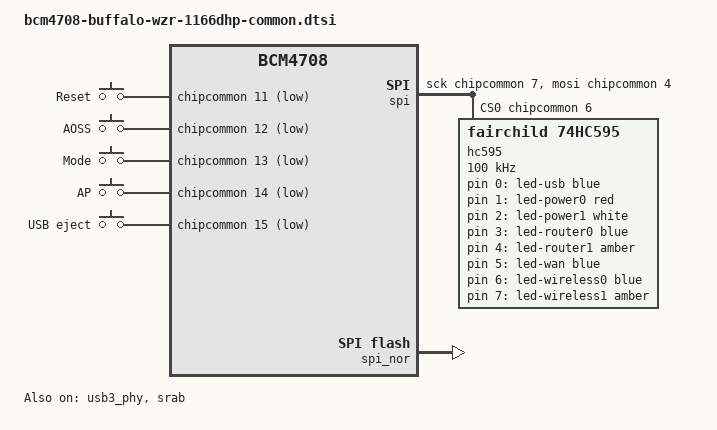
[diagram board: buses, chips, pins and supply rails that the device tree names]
// SPDX-License-Identifier: GPL-2.0-or-later OR MIT
/*
 * Broadcom BCM470X / BCM5301X ARM platform code.
 * DTS for Buffalo WZR-1166DHP and WZR-1166DHP2
 *
 * Copyright (C) 2014 Rafał Miłecki <zajec5@gmail.com>
 * Copyright (C) 2022 SHIMAMOTO Takayoshi <takayoshi.shimamoto.360@gmail.com>
 */


#include "bcm4708.dtsi"
#include "bcm5301x-nand-cs0-bch8.dtsi"
#include <dt-bindings/leds/common.h>

/ {
	spi {
		compatible = "spi-gpio";
		num-chipselects = <1>;
		sck-gpios = <&chipcommon 7 0>;
		mosi-gpios = <&chipcommon 4 0>;
		cs-gpios = <&chipcommon 6 0>;
		#address-cells = <1>;
		#size-cells = <0>;

		hc595: gpio_spi@0 {
			compatible = "fairchild,74hc595";
			reg = <0>;
			registers-number = <1>;
			spi-max-frequency = <100000>;

			gpio-controller;
			#gpio-cells = <2>;

		};
	};

	leds {
		compatible = "gpio-leds";

		led-usb {
			/* label = "bcm53xx:blue:usb"; */
			function = LED_FUNCTION_USB;
			color = <LED_COLOR_ID_BLUE>;
			gpios = <&hc595 0 GPIO_ACTIVE_HIGH>;
			trigger-sources = <&ohci_port1>, <&ehci_port1>,
					  <&xhci_port1>, <&ohci_port2>,
					  <&ehci_port2>;
			linux,default-trigger = "usbport";
		};

		led-power0 {
			/* label = "bcm53xx:red:power"; */
			function = LED_FUNCTION_FAULT;
			color = <LED_COLOR_ID_RED>;
			gpios = <&hc595 1 GPIO_ACTIVE_HIGH>;
		};

		led-power1 {
			/* label = "bcm53xx:white:power"; */
			function = LED_FUNCTION_POWER;
			color = <LED_COLOR_ID_WHITE>;
			gpios = <&hc595 2 GPIO_ACTIVE_HIGH>;
			linux,default-trigger = "default-on";
		};

		led-router0 {
			/*  label = "bcm53xx:blue:router"; */
			function = LED_FUNCTION_STATUS;
			color = <LED_COLOR_ID_BLUE>;
			gpios = <&hc595 3 GPIO_ACTIVE_HIGH>;
			linux,default-trigger = "default-on";
		};

		led-router1 {
			/* label = "bcm53xx:amber:router"; */
			function = LED_FUNCTION_STATUS;
			color = <LED_COLOR_ID_AMBER>;
			gpios = <&hc595 4 GPIO_ACTIVE_HIGH>;
		};

		led-wan {
			/* label = "bcm53xx:blue:wan"; */
			function = LED_FUNCTION_WAN;
			color = <LED_COLOR_ID_BLUE>;
			gpios = <&hc595 5 GPIO_ACTIVE_HIGH>;
			linux,default-trigger = "default-on";
		};

		led-wireless0 {
			/* label = "bcm53xx:blue:wireless"; */
			function = LED_FUNCTION_WLAN;
			color = <LED_COLOR_ID_BLUE>;
			gpios = <&hc595 6 GPIO_ACTIVE_HIGH>;
		};

		led-wireless1 {
			/* label = "bcm53xx:amber:wireless"; */
			function = LED_FUNCTION_WLAN;
			color = <LED_COLOR_ID_AMBER>;
			gpios = <&hc595 7 GPIO_ACTIVE_HIGH>;
		};
	};

	gpio-keys {
		compatible = "gpio-keys";

		button-restart {
			label = "Reset";
			linux,code = <KEY_RESTART>;
			gpios = <&chipcommon 11 GPIO_ACTIVE_LOW>;
		};

		button-aoss {
			label = "AOSS";
			linux,code = <KEY_WPS_BUTTON>;
			gpios = <&chipcommon 12 GPIO_ACTIVE_LOW>;
		};

		/* Commit mode set by switch? */
		button-mode {
			label = "Mode";
			linux,code = <KEY_SETUP>;
			gpios = <&chipcommon 13 GPIO_ACTIVE_LOW>;
		};

		/* Switch: AP mode */
		button-sw-ap {
			label = "AP";
			linux,code = <BTN_0>;
			gpios = <&chipcommon 14 GPIO_ACTIVE_LOW>;
		};

		button-eject {
			label = "USB eject";
			linux,code = <KEY_EJECTCD>;
			gpios = <&chipcommon 15 GPIO_ACTIVE_LOW>;
		};
	};
};

&usb2 {
	vcc-gpio = <&chipcommon 9 GPIO_ACTIVE_HIGH>;
};

&usb3 {
	vcc-gpio = <&chipcommon 10 GPIO_ACTIVE_LOW>;
};

&spi_nor {
	status = "okay";
};

&usb3_phy {
	status = "okay";
};

&srab {
	status = "okay";

	ports {
		port@0 {
			label = "lan1";
		};

		port@1 {
			label = "lan2";
		};

		port@2 {
			label = "lan3";
		};

		port@3 {
			label = "lan4";
		};

		port@4 {
			label = "wan";
		};

		port@5 {
			label = "cpu";
		};
	};
};
